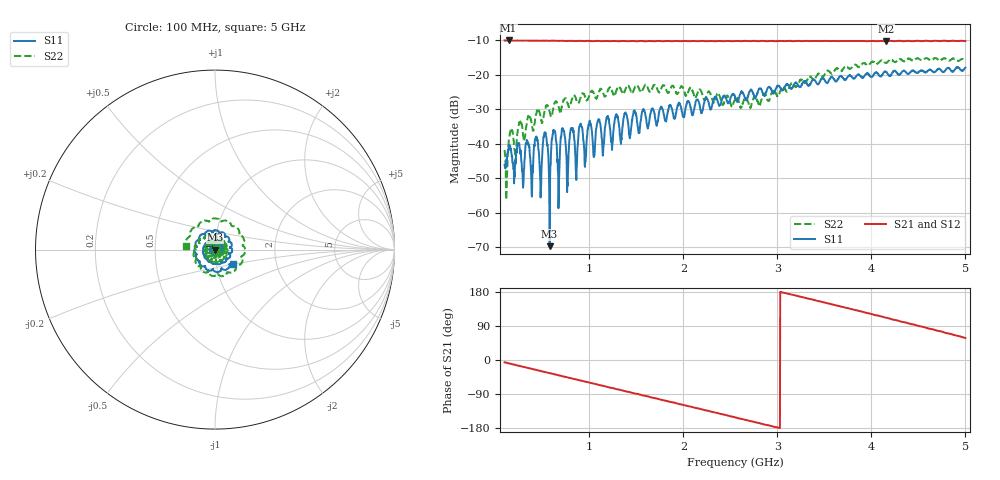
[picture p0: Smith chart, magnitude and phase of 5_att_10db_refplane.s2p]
!Keysight Technologies N9917A: A.12.46
! "!Date: Thursday, 09 November 2023 20:36:02"
!Timezone: (UTC-03:00) Buenos Aires
!Model: N9917A
!Serial: MY56072049
!GPS Latitude:
!GPS Longitude:
!GPS TimeStamp: 0001-01-01 00:00:00Z
!GPS Seconds Since Last Read: 0
!CHECKSUM:0698862074
!Correction: S11(ON U)S21(ON U)S12(ON U)S22(ON U)
! "!S2P File: Measurements:S11,S21,S12,S22:"
# Hz S DB R 50
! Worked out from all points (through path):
!   1601 points, 100 MHz to 5 GHz, reference 50 ohm
!   highest |S21| = -10.08 dB at 142.9 MHz (marker M1); lowest = -10.3 dB at 4.155 GHz (marker M2)
!   group delay of S21, straight-line fit = 167 ps
!   lowest |S11| = -69.6 dB at 577.8 MHz (marker M3), VSWR 1.00, Z = 50 - j0.0236 ohm
!   |S11| at or under -10 dB: start of sweep to end of sweep
!   |S22| runs from -56.2 to -15.2 dB; largest |S21 - S12| = 0.62
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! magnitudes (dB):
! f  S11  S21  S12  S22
! 100 MHz  -46.1  -10.1  -10.1  -41.8
! 142.9 MHz  -40.9  -10.1  -10.1  -39.8
! 292.9 MHz  -50.2  -10.1  -10.1  -36.1
! 341.9 MHz  -39.3  -10.1  -10.1  -32.9
! 390.9 MHz  -55.3  -10.1  -10.1  -34.5
! 436.9 MHz  -37.9  -10.1  -10.1  -31.3
! 482.8 MHz  -55.5  -10.2  -10.2  -32.4
! 531.8 MHz  -37.2  -10.2  -10.1  -29.8
! 577.8 MHz  -69.6  -10.2  -10.2  -30.7
! 623.7 MHz  -36.1  -10.2  -10.2  -29.1
! 669.6 MHz  -48.9  -10.2  -10.2  -28.8
! 718.6 MHz  -35.5  -10.2  -10.2  -28.1
! 767.6 MHz  -51.1  -10.3  -10.2  -28.1
! 917.7 MHz  -35.1  -10.2  -10.2  -25.8
! 954.4 MHz  -46.7  -10.2  -10.2  -26.4
! 1.003 GHz  -33.4  -10.2  -10.2  -25.8
! 1.735 GHz  -32.3  -10.2  -10.2  -24.8
! 2.55 GHz  -26.3  -10.3  -10.2  -27.3
! 3.368 GHz  -21.9  -10.3  -10.2  -21.1
! 4.155 GHz  -19.1  -10.3  -10.2  -16.6
! 4.185 GHz  -20.2  -10.2  -10.2  -15.9
! 5 GHz  -18.0  -10.3  -10.3  -15.8
